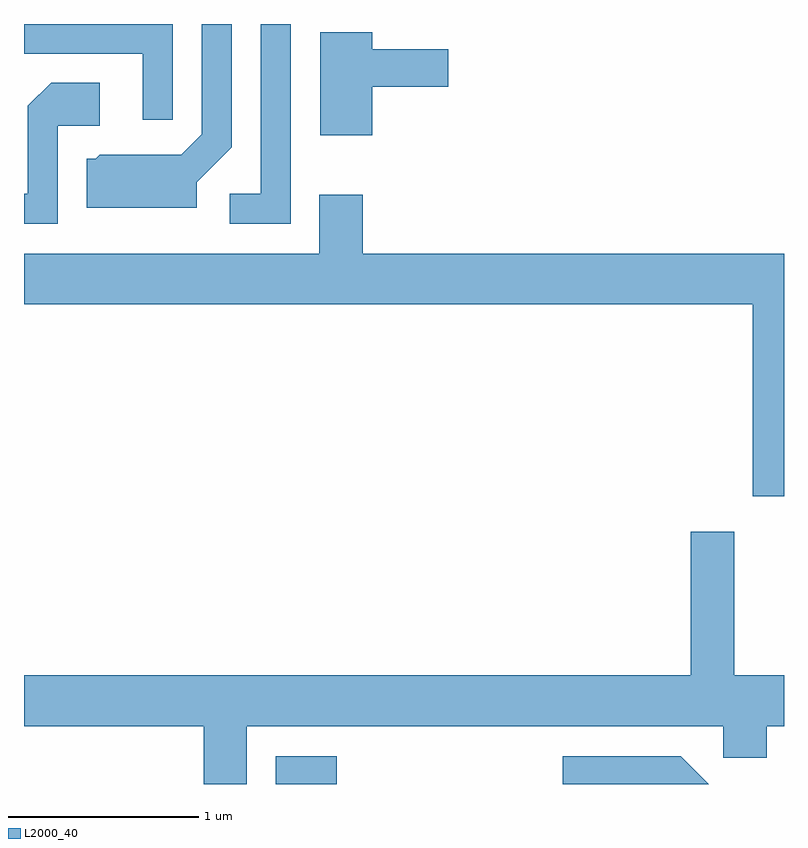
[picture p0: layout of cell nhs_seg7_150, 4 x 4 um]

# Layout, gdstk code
import gdstk
lib = gdstk.Library(unit=1e-6, precision=1e-09)
def R(c, l, rs):  # rectangles x0, y0, x1, y1
    for r in rs: c.add(gdstk.rectangle(r[:2], r[2:], *l))
def P(c, l, *ps):  # polygons
    for p in ps: c.add(gdstk.Polygon(p, *l))
L2000_40 = (2000, 40)

nhs_seg7_150 = lib.new_cell('nhs_seg7_150')
R(nhs_seg7_150, L2000_40, [(190.936,1696.252,191.258,1696.399)])
P(nhs_seg7_150, L2000_40, [(190.519,1699.419),(190.704,1699.604),(190.704,1700.252),(190.546,1700.252),(190.546,1699.672),(190.439,1699.564),(190.009,1699.564),(189.989,1699.544),(189.941,1699.544),(189.941,1699.286),(190.519,1699.286)],
  [(190.394,1700.252),(189.611,1700.252),(189.611,1700.096),(190.236,1700.096),(190.236,1699.748),(190.394,1699.748)],
  [(191.014,1700.252),(190.856,1700.252),(190.856,1699.359),(190.693,1699.359),(190.693,1699.201),(191.014,1699.201)],
  [(191.444,1699.921),(191.844,1699.921),(191.844,1700.119),(191.444,1700.119),(191.444,1700.209),(191.171,1700.209),(191.171,1699.666),(191.444,1699.666)],
  [(189.789,1699.716),(190.009,1699.716),(190.009,1699.944),(189.754,1699.944),(189.631,1699.822),(189.631,1699.359),(189.611,1699.359),(189.611,1699.201),(189.789,1699.201)],
  [(193.611,1699.044),(191.394,1699.044),(191.394,1699.354),(191.166,1699.354),(191.166,1699.044),(189.611,1699.044),(189.611,1698.776),(193.446,1698.776),(193.446,1697.766),(193.611,1697.766)],
  [(190.784,1696.556),(193.291,1696.556),(193.291,1696.391),(193.519,1696.391),(193.519,1696.556),(193.611,1696.556),(193.611,1696.824),(193.349,1696.824),(193.349,1697.579),(193.121,1697.579),(193.121,1696.824),(189.611,1696.824),(189.611,1696.556),(190.556,1696.556),(190.556,1696.252),(190.784,1696.252)],
  [(193.067,1696.399),(192.446,1696.399),(192.446,1696.252),(193.214,1696.252)])

lib.write_gds('nhs_seg7_150.gds')
